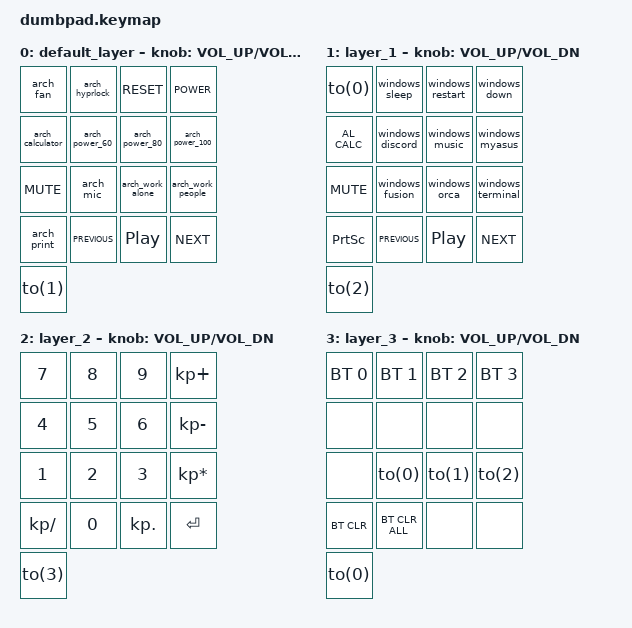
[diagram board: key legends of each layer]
#include <behaviors.dtsi>
#include <dt-bindings/zmk/keys.h>
#include <dt-bindings/zmk/bt.h>
#include <dt-bindings/zmk/outputs.h>

/ {
  behaviors {
        rot_kp: sensor_rotate_kp {
            compatible = "zmk,behavior-sensor-rotate-var";
            #sensor-binding-cells = <2>;
            bindings = <&kp>, <&kp>;
        };
    };

  sensors {
    compatible = "zmk,keymap-sensors";
    sensors = <&encoder0>;
    triggers-per-rotation = <6>;
  };

  macros {
//LINUX macros

    arch_fan:arch_fan {
        compatible = "zmk,behavior-macro";
        #binding-cells = <0>;
        bindings = <&kp LG(F)>;
        label = "ARCH_FAN";
    };
    
    arch_print:arch_print{
        compatible = "zmk,behavior-macro";
        #binding-cells = <0>;
        bindings = <&kp LG(P)>;
        label = "ARCH_PRINT";
    };

    arch_hyprlock:arch_hyprlock{
        compatible = "zmk,behavior-macro";
        #binding-cells = <0>;
        bindings = <&kp LG(L)>;
        label = "ARCH_hyprlock";
    };

    arch_power_60:arch_power_60{
        compatible = "zmk,behavior-macro";
        #binding-cells = <0>;
        bindings = <&kp LG(LA(LC(N1)))>;
        label = "ARCH_power_60";
    };
    arch_power_80:arch_power_80{
        compatible = "zmk,behavior-macro";
        #binding-cells = <0>;
        bindings = <&kp LG(LA(LC(N2)))>;
        label = "ARCH_power_80";
    };

    arch_power_100:arch_power_100{
        compatible = "zmk,behavior-macro";
        #binding-cells = <0>;
        bindings = <&kp LG(LA(LC(N3)))>;
        label = "ARCH_power_100";
    };

    arch_calculator:arch_calculator{
        compatible = "zmk,behavior-macro";
        #binding-cells = <0>;
        bindings = <&kp LA(LC(C))>;
        label = "ARCH_calculator";
        };
    arch_mic:arch_mic{
        compatible = "zmk,behavior-macro";
        #binding-cells = <0>;
        bindings = <&kp LC(LA(Y))>;
        label = "ARCH_mic";
    };
    arch_work_alone:arch_work_alone{
        compatible = "zmk,behavior-macro";
        #binding-cells = <0>;
        bindings = <&kp LG(Z)>;
        label = "ARCH_work_alone";
    };
    arch_work_people:arch_work_people{
        compatible = "zmk,behavior-macro";
        #binding-cells = <0>;
        bindings = <&kp LG(X)>;
        label = "ARCH_work_people";
    };
    arch_volume_up:arch_volume_up{
        compatible = "zmk,behavior-macro";
        #binding-cells = <0>;
        bindings = <&kp LG(LA(LC(UP)))>;
        label = "ARCH_volume_up";
    };
    arch_volume_down:arch_volume_down{
        compatible = "zmk,behavior-macro";
        #binding-cells = <0>;
        bindings = <&kp LG(LA(LC(DOWN)))>;
        label = "ARCH_volume_down";
    };
//WINDOWS

    windows_sleep:windows_sleep{
        compatible = "zmk,behavior-macro";
        #binding-cells = <0>;
        bindings = <&kp LG(LA(S))>;
        label = "WINDOWS_sleep";
    };
    windows_down:windows_down{
        compatible = "zmk,behavior-macro";
        #binding-cells = <0>;
        bindings = <&kp LG(LA(D))>;
        label = "WINDOWS_down";
    };
    windows_restart:windows_restart{
        compatible = "zmk,behavior-macro";
        #binding-cells = <0>;
        bindings = <&kp LG(LA(R))>;
        label = "WINDOWS_restart";
    };

    windows_discord:windows_discord{
        compatible = "zmk,behavior-macro";
        #binding-cells = <0>;
        bindings = <&kp LC(LA(D))>;
        label = "WINDOWS_discord";
    };
    windows_music:windows_music{
        compatible = "zmk,behavior-macro";
        #binding-cells = <0>;
        bindings = <&kp LC(LA(M))>;
        label = "WINDOWS_music";
    };
    windows_terminal:windows_terminal{
        compatible = "zmk,behavior-macro";
        #binding-cells = <0>;
        bindings = <&kp LG(Q)>;
        label = "WINDOWS_terminal";
    };
    windows_orca:windows_orca{
        compatible = "zmk,behavior-macro";
        #binding-cells = <0>;
        bindings = <&kp LC(LA(S))>;
        label = "WINDOWS_orca";
    };
    windows_myasus:windows_myasus{
        compatible = "zmk,behavior-macro";
        #binding-cells = <0>;
        bindings = <&kp LC(LA(A))>;
        label = "WINDOWS_myasus";
    };
    windows_fusion:windows_fusion{
        compatible = "zmk,behavior-macro";
        #binding-cells = <0>;
        bindings = <&kp LC(LA(F))>;
        label = "WINDOWS_fusion";
    };
                debug_event: debug_event {
        compatible = "zmk,behavior-macro";
        #binding-cells = <0>;
        bindings = <&kp A>;
        label = "DEBUG_EVENT";
    };

  };


  keymap {
    compatible = "zmk,keymap";

    default_layer { /*LINUX*/
      bindings = <
        &arch_fan    &arch_hyprlock    &kp C_RESET   &kp C_POWER
        &arch_calculator  &arch_power_60     &arch_power_80    &arch_power_100
        &kp C_MUTE    &arch_mic     &arch_work_alone &arch_work_people
        &arch_print &kp C_PREVIOUS &kp C_PLAY_PAUSE &kp C_NEXT
        &to(1)
      >;
        sensor-bindings = <&inc_dec_kp C_VOL_UP C_VOL_DN>;
    };

    layer_1 { /*Windows*/
      bindings = <
        &to(0) &windows_sleep &windows_restart &windows_down
        &kp C_AL_CALC &windows_discord &windows_music &windows_myasus
        &kp C_MUTE &windows_fusion &windows_orca &windows_terminal
        &kp PRINTSCREEN &kp C_PREVIOUS &kp C_PLAY_PAUSE &kp C_NEXT
        &to(2)
      >;
        sensor-bindings = <&inc_dec_kp C_VOL_UP C_VOL_DN>;
      /* encoder-bindings = < &none &none >; */
    };
    layer_2 { /*Numpad*/
      bindings = <
        &kp N7 &kp N8 &kp N9 &kp KP_PLUS
        &kp N4 &kp N5 &kp N6 &kp KP_MINUS
        &kp N1 &kp N2 &kp N3 &kp KP_MULTIPLY
        &kp KP_DIVIDE &kp N0 &kp KP_DOT &kp ENTER
        &to(3)
      >;
        sensor-bindings = <&inc_dec_kp C_VOL_UP C_VOL_DN>;
      /* encoder-bindings = < &none &none >; */
    };

        layer_3 {       /*bt Setting*/
      bindings = <
        &bt BT_SEL 0   &bt BT_SEL 1   &bt BT_SEL 2   &bt BT_SEL 3
        &none &none &none &none
        &none &to(0) &to(1) &to(2)
        &bt BT_CLR &bt BT_CLR_ALL &none &none
        &to(0)
      >;
        sensor-bindings = <&inc_dec_kp C_VOL_UP C_VOL_DN>;
      /* encoder-bindings = < &none &none >; */
    };

  };
};
